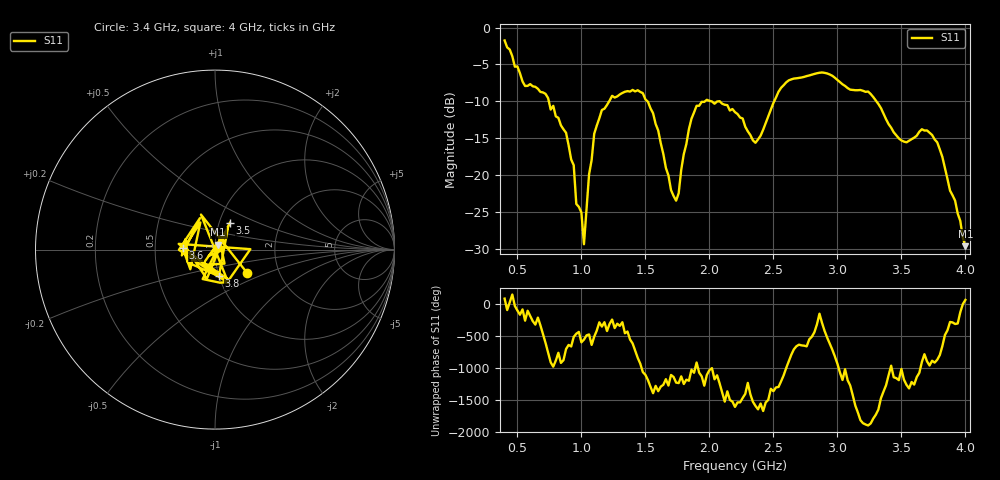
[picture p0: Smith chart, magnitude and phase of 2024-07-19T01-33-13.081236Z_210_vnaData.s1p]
!Created with skrf (http://scikit-rf.org).
# Hz S RI R 50.0
!freq ReS11 ImS11
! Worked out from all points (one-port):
!   181 points, 400 MHz to 4 GHz, reference 50 ohm
!   lowest |S11| = -29.6 dB at 4 GHz (marker M1), VSWR 1.07, Z = 51.7 + j2.93 ohm
!   |S11| at or under -10 dB: 745.8 MHz to 1.216 GHz (470.7 MHz wide, 48 % of centre); 1.517 GHz to 1.964 GHz (447.4 MHz wide, 25.7 % of centre); 3.305 GHz to end of sweep (the widest 3 of 5)
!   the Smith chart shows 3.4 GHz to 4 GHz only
!   S11 on the Smith chart (normalised r, x): 3.4 GHz: 1.38, -0.38; 3.5 GHz: 1.12, +0.35; 3.6 GHz: 0.70, +0.01; 3.8 GHz: 1.00, -0.30; 4 GHz: 1.03, +0.06
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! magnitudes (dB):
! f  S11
! 400 MHz  -1.8
! 560 MHz  -7.9
! 720 MHz  -9.0
! 860 MHz  -13.8
! 940 MHz  -18.6
! 960 MHz  -23.9
! 1 GHz  -25.0
! 1.02 GHz  -29.3
! 1.06 GHz  -19.8
! 1.1 GHz  -14.4
! 1.3 GHz  -9.1
! 1.48 GHz  -8.9
! 1.6 GHz  -13.9
! 1.7 GHz  -22.0
! 1.76 GHz  -22.4
! 1.84 GHz  -13.7
! 1.9 GHz  -10.6
! 2.2 GHz  -11.5
! 2.36 GHz  -15.6
! 2.66 GHz  -6.9
! 3.1 GHz  -8.4
! 3.24 GHz  -8.7
! 3.4 GHz  -13.1
! 3.5 GHz  -15.3
! 3.56 GHz  -15.3
! 3.6 GHz  -14.9
! 3.8 GHz  -16.5
! 4 GHz  -29.6
